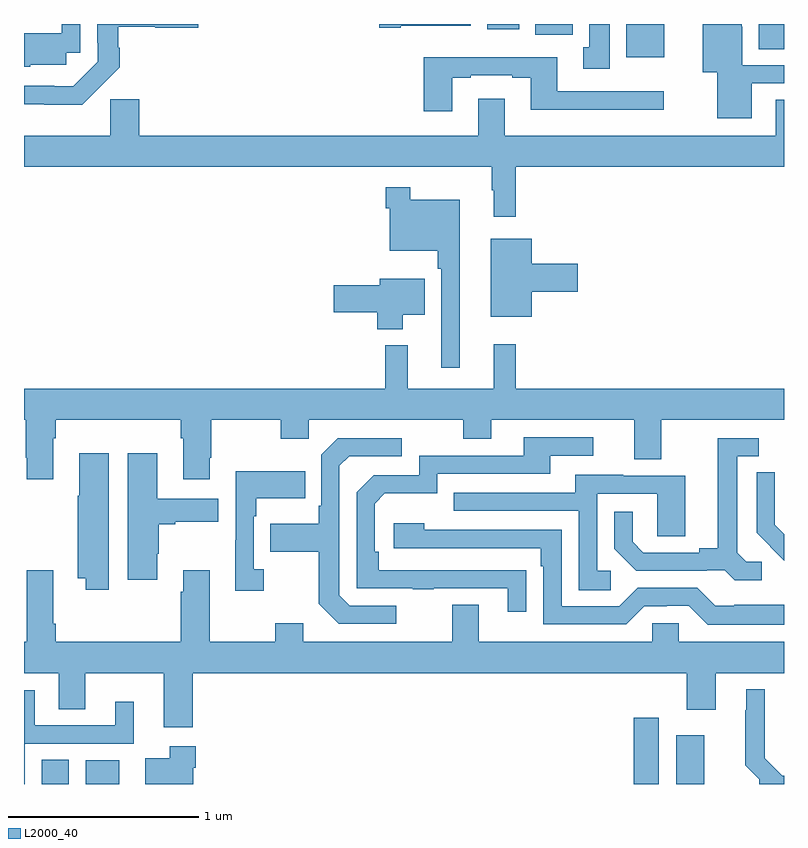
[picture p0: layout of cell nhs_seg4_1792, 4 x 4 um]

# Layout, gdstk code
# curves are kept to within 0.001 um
import gdstk
lib = gdstk.Library(unit=1e-6, precision=1e-09)
def R(c, l, rs):  # rectangles x0, y0, x1, y1
    for r in rs: c.add(gdstk.rectangle(r[:2], r[2:], *l))
def P(c, l, *ps):  # polygons
    for p in ps: c.add(gdstk.Polygon(p, *l))
L2000_40 = (2000, 40)

nhs_seg4_1792 = lib.new_cell('nhs_seg4_1792')
R(nhs_seg4_1792, L2000_40, [(203.093,798.9,203.236,799.028), (203.324,798.9,203.5,799.024), (206.21,798.9,206.341,799.249), (206.432,798.9,206.581,799.156), (206.171,802.724,206.371,802.9), (206.867,802.768,207,802.9), (205.691,802.844,205.888,802.9), (205.439,802.872,205.606,802.9)])
P(nhs_seg4_1792, L2000_40, [(206.083,802.9),(205.976,802.9),(205.976,802.778),(205.943,802.778),(205.943,802.665),(206.083,802.665)],
  [(206.83,802.587),(207,802.587),(207,802.683),(206.779,802.683),(206.779,802.886),(206.778,802.886),(206.778,802.9),(206.573,802.9),(206.573,802.646),(206.648,802.646),(206.648,802.403),(206.83,802.403)],
  [(204.982,802.892),(205.351,802.892),(205.351,802.9),(204.87,802.9),(204.87,802.88),(204.982,802.88)],
  [(203.504,802.673),(203.504,802.775),(203.497,802.775),(203.497,802.885),(203.691,802.885),(203.691,802.88),(203.917,802.88),(203.917,802.9),(203.385,802.9),(203.385,802.801),(203.388,802.801),(203.388,802.701),(203.26,802.573),(203.159,802.573),(203.159,802.575),(203,802.575),(203,802.478),(203.107,802.478),(203.107,802.476),(203.306,802.476)],
  [(203.034,802.686),(203.223,802.686),(203.223,802.749),(203.295,802.749),(203.295,802.9),(203.199,802.9),(203.199,802.852),(203,802.852),(203,802.676),(203.034,802.676)],
  [(205.255,802.617),(205.351,802.617),(205.351,802.629),(205.571,802.629),(205.571,802.617),(205.667,802.617),(205.667,802.448),(206.368,802.448),(206.368,802.545),(205.807,802.545),(205.807,802.726),(205.103,802.726),(205.103,802.44),(205.255,802.44)],
  [(205.589,802.148),(207,802.148),(207,802.502),(206.957,802.502),(206.957,802.312),(205.531,802.312),(205.531,802.507),(205.391,802.507),(205.391,802.312),(203.606,802.312),(203.606,802.503),(203.455,802.503),(203.455,802.312),(203,802.312),(203,802.148),(205.461,802.148),(205.461,802.025),(205.472,802.025),(205.472,801.885),(205.589,801.885)],
  [(205.294,801.976),(205.033,801.976),(205.033,802.042),(204.904,802.042),(204.904,801.929),(204.924,801.929),(204.924,801.707),(205.177,801.707),(205.177,801.611),(205.197,801.611),(205.197,801.09),(205.294,801.09)],
  [(205.672,801.491),(205.915,801.491),(205.915,801.638),(205.672,801.638),(205.672,801.769),(205.457,801.769),(205.457,801.359),(205.672,801.359)],
  [(204.994,801.371),(205.108,801.371),(205.108,801.559),(204.872,801.559),(204.872,801.524),(204.63,801.524),(204.63,801.382),(204.86,801.382),(204.86,801.293),(204.994,801.293)],
  [(203.155,800.72),(203.168,800.72),(203.168,800.816),(203.825,800.816),(203.825,800.72),(203.837,800.72),(203.837,800.505),(203.977,800.505),(203.977,800.617),(203.985,800.617),(203.985,800.816),(204.352,800.816),(204.352,800.717),(204.498,800.717),(204.498,800.816),(205.312,800.816),(205.312,800.717),(205.459,800.717),(205.459,800.816),(206.213,800.816),(206.213,800.608),(206.353,800.608),(206.353,800.816),(207,800.816),(207,800.98),(205.589,800.98),(205.589,801.214),(205.472,801.214),(205.472,800.98),(205.019,800.98),(205.019,801.208),(204.901,801.208),(204.901,800.98),(203,800.98),(203,800.816),(203.008,800.816),(203.008,800.617),(203.015,800.617),(203.015,800.505),(203.155,800.505)],
  [(205.643,800.024),(204.866,800.025),(204.866,800.122),(204.846,800.122),(204.846,800.376),(204.899,800.429),(205.176,800.429),(205.176,800.532),(205.771,800.532),(205.771,800.628),(205.996,800.628),(205.996,800.724),(205.631,800.724),(205.631,800.628),(205.08,800.628),(205.08,800.526),(204.84,800.526),(204.75,800.436),(204.75,799.929),(205.045,799.929),(205.045,799.924),(205.157,799.924),(205.157,799.929),(205.547,799.929),(205.547,799.806),(205.643,799.806)],
  [(206.884,800.07),(206.802,800.07),(206.755,800.117),(206.755,800.625),(206.866,800.625),(206.866,800.721),(206.651,800.721),(206.651,800.141),(206.555,800.141),(206.555,800.118),(206.26,800.118),(206.203,800.175),(206.203,800.332),(206.106,800.332),(206.106,800.138),(206.222,800.022),(206.594,800.022),(206.594,800.025),(206.688,800.025),(206.74,799.973),(206.884,799.973)],
  [(204.958,799.839),(204.714,799.839),(204.66,799.893),(204.66,800.574),(204.711,800.625),(204.988,800.625),(204.988,800.721),(204.651,800.721),(204.564,800.634),(204.564,800.365),(204.552,800.365),(204.552,800.269),(204.295,800.269),(204.295,800.122),(204.552,800.122),(204.552,799.849),(204.657,799.743),(204.958,799.743)],
  [(203.701,800.113),(203.709,800.113),(203.709,800.267),(203.797,800.267),(203.797,800.279),(204.022,800.279),(204.022,800.401),(203.701,800.401),(203.701,800.641),(203.546,800.641),(203.546,799.974),(203.701,799.974)],
  [(203.446,800.641),(203.291,800.641),(203.291,800.417),(203.284,800.417),(203.284,799.982),(203.324,799.982),(203.324,799.923),(203.446,799.923)],
  [(204.262,800.03),(204.21,800.03),(204.21,800.309),(204.223,800.309),(204.223,800.405),(204.479,800.405),(204.479,800.545),(204.114,800.545),(204.114,800.183),(204.113,800.183),(204.113,799.917),(204.262,799.917)],
  [(207,800.214),(206.951,800.264),(206.951,800.386),(206.952,800.386),(206.952,800.54),(206.856,800.54),(206.856,800.222),(206.929,800.149),(206.928,800.148),(207,800.076)],
  [(206.089,800.022),(206.016,800.022),(206.016,800.427),(206.334,800.427),(206.334,800.203),(206.479,800.203),(206.479,800.523),(206.155,800.523),(206.155,800.527),(205.901,800.527),(205.901,800.433),(205.261,800.433),(205.261,800.337),(205.92,800.337),(205.92,799.921),(206.089,799.921)],
  [(207,799.843),(206.737,799.843),(206.737,799.839),(206.637,799.839),(206.544,799.932),(206.229,799.932),(206.133,799.836),(205.83,799.836),(205.83,800.238),(205.106,800.238),(205.106,800.272),(204.945,800.272),(204.945,800.142),(205.721,800.142),(205.721,800.045),(205.734,800.045),(205.734,799.74),(206.169,799.74),(206.265,799.836),(206.384,799.836),(206.384,799.839),(206.499,799.839),(206.599,799.739),(207,799.739)],
  [(203.888,799.484),(206.489,799.484),(206.489,799.29),(206.641,799.29),(206.641,799.484),(207,799.484),(207,799.648),(206.445,799.648),(206.445,799.746),(206.307,799.746),(206.307,799.648),(205.393,799.648),(205.393,799.843),(205.253,799.843),(205.253,799.648),(204.469,799.648),(204.469,799.747),(204.322,799.747),(204.322,799.648),(203.977,799.648),(203.977,800.026),(203.837,800.026),(203.837,799.913),(203.825,799.913),(203.825,799.648),(203.168,799.648),(203.168,799.744),(203.155,799.744),(203.155,800.026),(203.015,800.026),(203.015,799.648),(203,799.648),(203,799.484),(203.183,799.484),(203.183,799.294),(203.323,799.294),(203.323,799.484),(203.735,799.484),(203.735,799.2),(203.888,799.2)],
  [(207,798.943),(206.991,798.943),(206.899,799.036),(206.899,799.399),(206.801,799.399),(206.801,799.289),(206.797,799.289),(206.797,798.998),(206.871,798.924),(206.871,798.9),(207,798.9)],
  [(203.004,799.113),(203.578,799.113),(203.578,799.333),(203.48,799.333),(203.48,799.209),(203.056,799.209),(203.056,799.393),(203,799.393),(203,798.9),(203.004,798.9)],
  [(203.89,798.986),(203.903,798.986),(203.903,799.099),(203.768,799.099),(203.768,799.036),(203.639,799.036),(203.639,798.9),(203.89,798.9)])

lib.write_gds('nhs_seg4_1792.gds')
